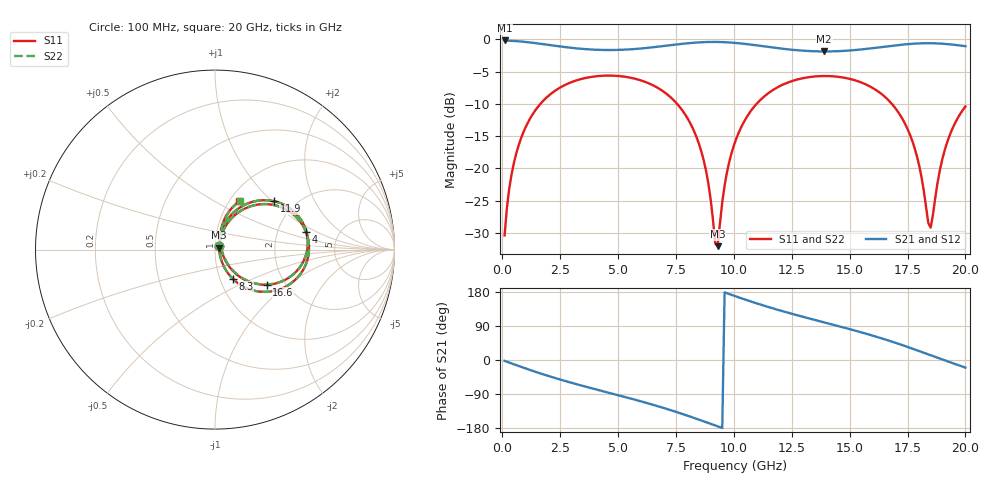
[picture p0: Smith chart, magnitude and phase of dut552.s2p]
! Touchstone file exported from HFSS 2026.1.0
!  File:  C:/ffzhzh/LocalFiles/Ansys_Project_Files/temp_train_TSV_RDL_552_1783115092_50312.aedt
!  Generated:  06:01:04 AM Jul  4, 2026
!  Design:  TSV_RDL
!  Project:  temp_train_TSV_RDL_552_1783115092_50312
! Variables:
!  h_bsmrdl = 5.48um
!  h_ox = 20um
!  h_rdl = 5um
!  h_sub = 98.23um
!  h_tmrdl = 4.27um
!  h_tsv = 98.23um
!  h_via = 3um
!  l_bsmrdl = 642.05um
!  l_sub = 6248.15um
!  l_tmrdl = 941.29um
!  m_sub = 200um
!  pitch = 57.26um
!  r_tsv = 9.38um
!  s_tmrdl = 10um
!  w_bsmrdl = 29.64um
!  w_sub = 500um
!  w_tmrdl = 22.64um
!  x_tsv_center1 = 952.61um
!  x_tsv_center2 = 1624.3um
!  x_tsv_center3 = 2588.23um
!  x_tsv_center4 = 3259.92um
!  x_tsv_center5 = 4223.85um
!  x_tsv_center6 = 4895.54um
# GHz S MA R 50.000000
! Terminal data exported
! Port[1] = TM_RDL1_1_T1
! Port[2] = TM_RDL5_1_T1
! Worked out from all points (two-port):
!   200 points, 100 MHz to 20 GHz, reference 50 ohm
!   highest |S21| = -0.17 dB at 100 MHz (marker M1); lowest = -1.9 dB at 13.9 GHz (marker M2)
!   |S21| within 3 dB of the highest: start of sweep to end of sweep
!   lowest |S11| = -32.0 dB at 9.3 GHz (marker M3), VSWR 1.05, Z = 52.3 + j1.06 ohm
!   |S11| at or under -10 dB: start of sweep to 1.647 GHz; 7.55 GHz to 10.98 GHz (3.432 GHz wide, 37 % of centre); 16.82 GHz to end of sweep
!   |S22| runs from -32.1 to -5.6 dB; largest |S21 - S12| = 1.6e-14
!   S11 on the Smith chart (normalised r, x): 100 MHz: 1.04, +0.05; 4 GHz: 2.90, +0.77; 8.3 GHz: 1.15, -0.39; 11.9 GHz: 1.57, +1.03; 16.6 GHz: 1.61, -0.72; 20 GHz: 1.11, +0.66
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0.1  0.03031 47.3  0.9801 -2.3  0.9801 -2.3  0.0303 47.3
! Gamma 0 0 0 0
! Port Impedance 50 0 50 0
0.3  0.06984 65.0  0.9761 -6.8  0.9761 -6.8  0.06984 65.0
0.5  0.1102 66.8  0.9714 -11.3  0.9714 -11.3  0.1102 66.8
1.1  0.2257 59.7  0.9502 -24.2  0.9502 -24.2  0.2257 59.7
3.5  0.4978 18.7  0.8419 -68.7  0.8419 -68.7  0.4978 18.7
4  0.5164 10.9  0.8309 -76.9  0.8309 -76.9  0.5164 10.9
6.8  0.412 -33.3  0.8804 -123.4  0.8804 -123.4  0.412 -33.3
8.3  0.1912 -58.6  0.942 -153.3  0.942 -153.3  0.1912 -58.6
8.8  0.09585 -62.0  0.9526 -164.1  0.9526 -164.1  0.09586 -62.1
9.2  0.02617 -21.2  0.9546 -172.8  0.9546 -172.8  0.02607 -21.4
9.3  0.02502 23.8  0.9541 -175.0  0.9541 -175.0  0.02488 23.8
9.6  0.07366 68.2  0.9503 178.4  0.9503 178.4  0.07357 68.3
10.1  0.1691 68.3  0.9368 167.6  0.9368 167.6  0.169 68.4
11.9  0.4265 39.1  0.8543 132.4  0.8543 132.4  0.4265 39.1
13.4  0.5137 15.6  0.8092 107.3  0.8092 107.3  0.5136 15.7
13.9  0.5198 8.1  0.8057 99.3  0.8057 99.3  0.5197 8.2
16.6  0.3485 -34.2  0.8812 52.9  0.8812 52.9  0.3484 -33.9
16.7  0.3345 -35.8  0.8857 51.0  0.8857 51.0  0.3345 -35.5
17.8  0.1452 -50.2  0.9263 28.0  0.9263 28.0  0.1455 -49.4
18.5  0.03481 20.6  0.9329 12.5  0.9329 12.5  0.0368 20.4
19.1  0.1371 73.7  0.9223 -0.9  0.9223 -0.9  0.1378 72.9
20  0.302 63.3  0.8846 -20.0  0.8846 -20.0  0.3023 62.9
